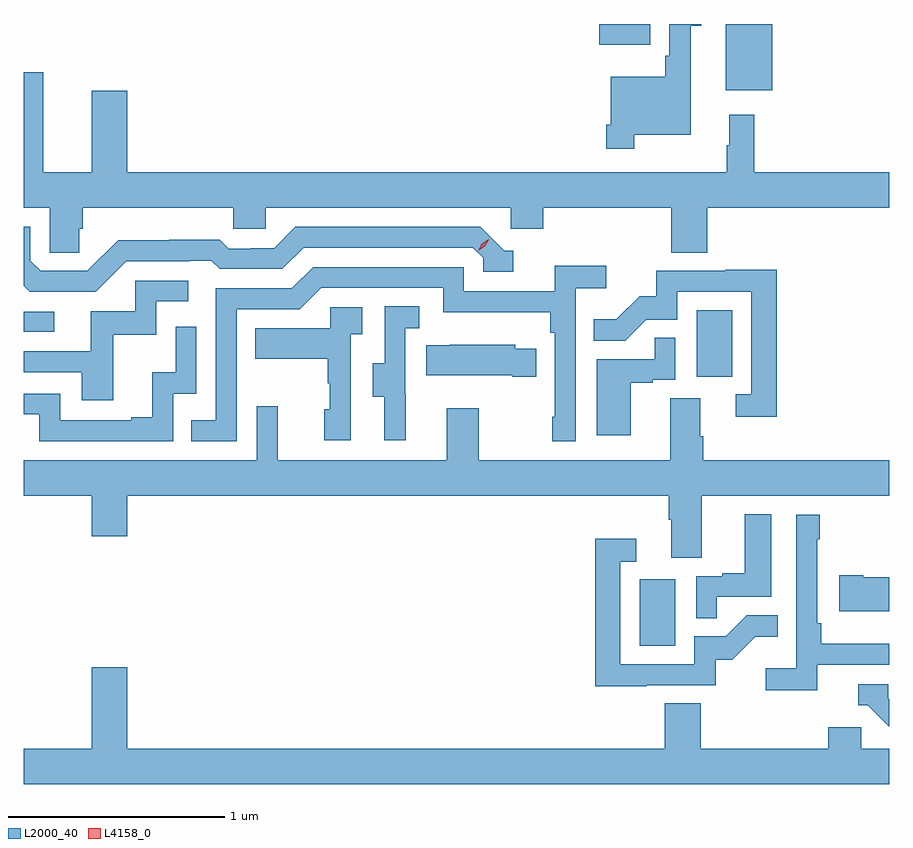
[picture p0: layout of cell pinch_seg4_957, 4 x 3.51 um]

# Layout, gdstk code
import gdstk
lib = gdstk.Library(unit=1e-6, precision=1e-09)
def R(c, l, rs):  # rectangles x0, y0, x1, y1
    for r in rs: c.add(gdstk.rectangle(r[:2], r[2:], *l))
def P(c, l, *ps):  # polygons
    for p in ps: c.add(gdstk.Polygon(p, *l))
L2000_40 = (2000, 40)
L4158_0 = (4158, 0)

pinch_seg4_957 = lib.new_cell('pinch_seg4_957')
R(pinch_seg4_957, L2000_40, [(886.82,784.14,886.984,784.447), (887.084,785.382,887.248,785.689), (883.974,785.589,884.116,785.682), (887.219,786.707,887.434,787.012), (886.634,786.917,886.87,787.012)])
P(pinch_seg4_957, L2000_40, [(886.795,786.5),(887.056,786.5),(887.056,787.004),(887.104,787.004),(887.104,787.012),(886.958,787.012),(886.958,786.865),(886.939,786.865),(886.939,786.769),(886.686,786.769),(886.686,786.547),(886.666,786.547),(886.666,786.435),(886.795,786.435)],
  [(887.974,786.328),(887.351,786.328),(887.351,786.592),(887.234,786.592),(887.234,786.452),(887.223,786.452),(887.223,786.328),(884.452,786.328),(884.452,786.703),(884.288,786.703),(884.288,786.328),(884.065,786.328),(884.065,786.79),(883.974,786.79),(883.974,786.164),(884.094,786.164),(884.094,785.956),(884.231,785.956),(884.231,786.066),(884.246,786.066),(884.246,786.164),(884.943,786.164),(884.943,786.066),(885.093,786.066),(885.093,786.164),(886.224,786.164),(886.224,786.066),(886.376,786.066),(886.376,786.164),(886.967,786.164),(886.967,785.956),(887.132,785.956),(887.132,786.164),(887.974,786.164)],
  [(884.448,785.916),(884.741,785.916),(884.741,785.919),(884.84,785.919),(884.879,785.88),(885.168,785.88),(885.267,785.979),(886.05,785.979),(886.098,785.931),(886.098,785.868),(886.237,785.868),(886.237,785.964),(886.194,785.964),(886.083,786.075),(885.23,786.075),(885.131,785.976),(885.024,785.976),(885.024,785.973),(884.921,785.973),(884.879,786.016),(884.646,786.016),(884.646,786.013),(884.41,786.013),(884.268,785.871),(884.052,785.871),(884.004,785.919),(884.004,786.075),(883.974,786.075),(883.974,785.802),(884.001,785.775),(884.307,785.775)],
  [(884.958,785.694),(885.249,785.694),(885.348,785.793),(885.912,785.793),(885.912,785.681),(886.408,785.681),(886.408,785.585),(886.428,785.585),(886.428,785.197),(886.416,785.197),(886.416,785.085),(886.524,785.085),(886.524,785.792),(886.666,785.792),(886.666,785.894),(886.427,785.894),(886.427,785.778),(886.008,785.778),(886.008,785.889),(885.311,785.889),(885.212,785.79),(884.862,785.79),(884.862,785.181),(884.749,785.181),(884.749,785.085),(884.958,785.085)],
  [(887.453,785.876),(887.215,785.876),(887.215,785.871),(886.897,785.871),(886.897,785.754),(886.82,785.754),(886.713,785.647),(886.609,785.647),(886.609,785.548),(886.753,785.548),(886.851,785.646),(886.995,785.646),(886.995,785.775),(887.337,785.775),(887.337,785.301),(887.265,785.301),(887.265,785.196),(887.453,785.196)],
  [(884.387,785.577),(884.586,785.577),(884.586,785.73),(884.734,785.73),(884.734,785.826),(884.49,785.826),(884.49,785.685),(884.285,785.685),(884.285,785.499),(883.974,785.499),(883.974,785.403),(884.243,785.403),(884.243,785.274),(884.387,785.274)],
  [(885.74,785.301),(885.738,785.301),(885.738,785.605),(885.802,785.605),(885.802,785.708),(885.642,785.708),(885.642,785.445),(885.587,785.445),(885.587,785.29),(885.641,785.29),(885.641,785.088),(885.74,785.088)],
  [(885.486,785.579),(885.538,785.579),(885.538,785.703),(885.39,785.703),(885.39,785.605),(885.043,785.605),(885.043,785.465),(885.378,785.465),(885.378,785.351),(885.388,785.351),(885.388,785.232),(885.362,785.232),(885.362,785.088),(885.486,785.088)],
  [(884.664,785.304),(884.772,785.304),(884.772,785.614),(884.676,785.614),(884.676,785.402),(884.567,785.402),(884.567,785.194),(884.471,785.194),(884.471,785.181),(884.142,785.181),(884.142,785.304),(883.974,785.304),(883.974,785.208),(884.046,785.208),(884.046,785.085),(884.664,785.085)],
  [(886.78,785.355),(886.88,785.355),(886.88,785.367),(886.986,785.367),(886.986,785.561),(886.891,785.561),(886.891,785.463),(886.622,785.463),(886.622,785.112),(886.78,785.112)],
  [(886.343,785.512),(886.245,785.512),(886.245,785.53),(885.943,785.53),(885.943,785.527),(885.835,785.527),(885.835,785.39),(886.232,785.39),(886.232,785.383),(886.343,785.383)],
  [(887.107,784.832),(887.974,784.832),(887.974,784.996),(887.114,784.996),(887.114,785.108),(887.101,785.108),(887.101,785.282),(886.961,785.282),(886.961,784.996),(886.077,784.996),(886.077,785.236),(885.929,785.236),(885.929,784.996),(885.149,784.996),(885.149,785.245),(885.051,785.245),(885.051,784.996),(883.974,784.996),(883.974,784.832),(884.288,784.832),(884.288,784.644),(884.452,784.644),(884.452,784.832),(886.955,784.832),(886.955,784.72),(886.967,784.72),(886.967,784.546),(887.107,784.546)],
  [(887.177,784.365),(887.428,784.365),(887.428,784.747),(887.306,784.747),(887.306,784.474),(887.203,784.474),(887.203,784.461),(887.082,784.461),(887.082,784.267),(887.177,784.267)],
  [(887.642,784.05),(887.974,784.05),(887.974,784.147),(887.66,784.147),(887.66,784.243),(887.64,784.243),(887.64,784.631),(887.653,784.631),(887.653,784.744),(887.544,784.744),(887.544,784.036),(887.403,784.036),(887.403,783.934),(887.642,783.934)],
  [(886.853,783.957),(887.172,783.957),(887.172,784.074),(887.248,784.074),(887.355,784.181),(887.459,784.181),(887.459,784.28),(887.316,784.28),(887.218,784.182),(887.073,784.182),(887.073,784.053),(886.731,784.053),(886.731,784.527),(886.804,784.527),(886.804,784.633),(886.615,784.633),(886.615,783.952),(886.853,783.952)],
  [(887.974,784.456),(887.854,784.456),(887.854,784.464),(887.742,784.464),(887.742,784.298),(887.974,784.298)],
  [(887.974,783.664),(887.844,783.664),(887.844,783.762),(887.693,783.762),(887.693,783.664),(887.102,783.664),(887.102,783.872),(886.937,783.872),(886.937,783.664),(884.452,783.664),(884.452,784.039),(884.288,784.039),(884.288,783.664),(883.974,783.664),(883.974,783.5),(887.974,783.5)],
  [(887.974,783.893),(887.97,783.897),(887.97,783.96),(887.831,783.96),(887.831,783.864),(887.874,783.864),(887.974,783.764)])
P(pinch_seg4_957, L4158_0, [(886.074,785.964),(886.074,785.965),(886.091,785.997),(886.122,786.017),(886.122,786.017),(886.122,786.016),(886.105,785.984),(886.075,785.964)])

lib.write_gds('pinch_seg4_957.gds')
